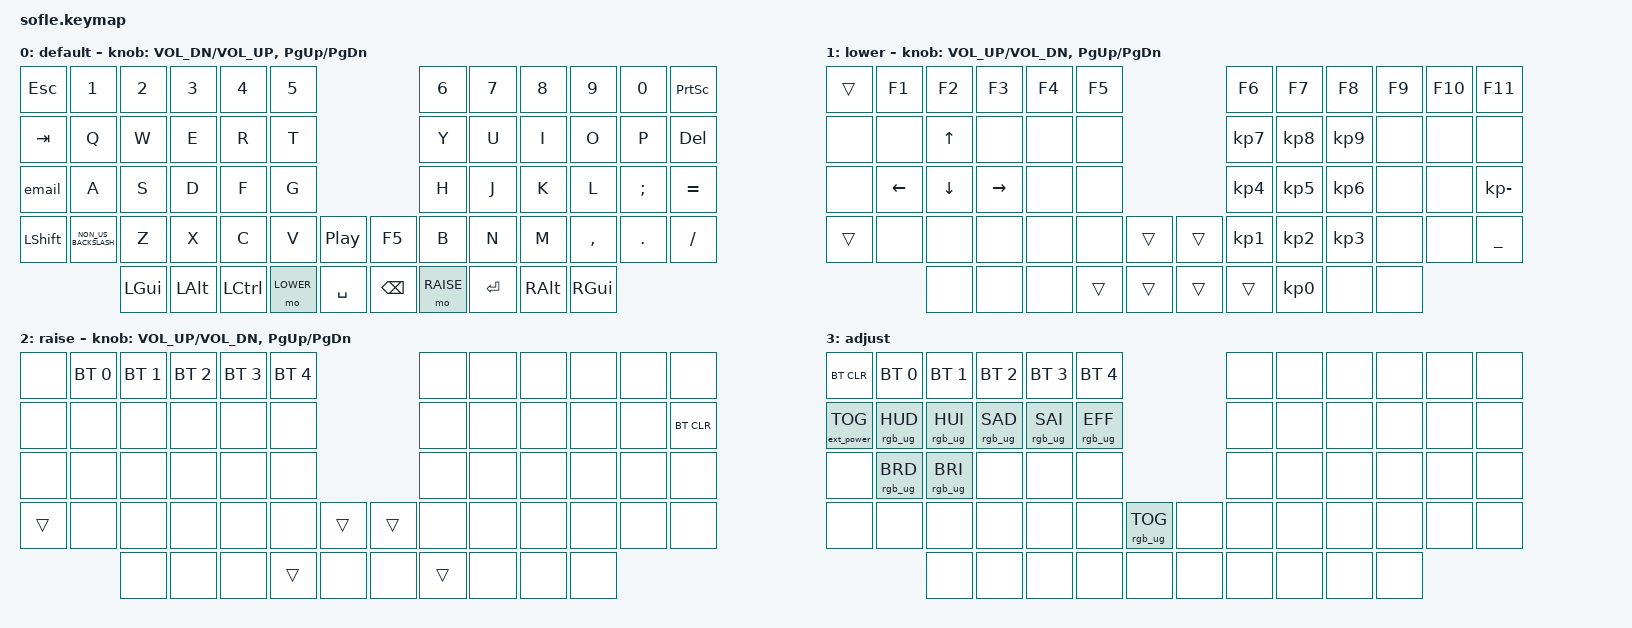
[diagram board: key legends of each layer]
/*
 * Copyright (c) 2020 The ZMK Contributors
 *
 * SPDX-License-Identifier: MIT
 */

#include <behaviors.dtsi>
#include <dt-bindings/zmk/bt.h>
#include <dt-bindings/zmk/ext_power.h>
#include <dt-bindings/zmk/keys.h>
#include <dt-bindings/zmk/rgb.h>

#define BASE 0
#define LOWER 1
#define RAISE 2
#define ADJUST 3

/ {
    // Activate ADJUST layer by pressing raise and lower

    conditional_layers {
        compatible = "zmk,conditional-layers";

        adjust_layer {
            if-layers = <LOWER RAISE>;
            then-layer = <ADJUST>;
        };
    };

    macros {
        email: email {
            compatible = "zmk,behavior-macro";
            #binding-cells = <0>;
            bindings = <&none &kp D &kp A &kp V &kp I &kp D &kp DOT &kp J &kp O &kp Y &kp C &kp E &kp AT &kp A &kp I &kp R &kp I &kp T &kp DOT &kp C &kp O &kp DOT &kp U &kp K>;
            label = "EMAIL";
        };
    };

    keymap {
        compatible = "zmk,keymap";

        default_layer {
            display-name = "default";

            // ------------------------------------------------------------------------------------------------------------
            // |   `   |  1  |  2  |  3   |  4   |  5   |                   |  6   |  7    |  8    |  9   |   0   |       |
            // |  ESC  |  Q  |  W  |  E   |  R   |  T   |                   |  Y   |  U    |  I    |  O   |   P   | BKSPC |
            // |  TAB  |  A  |  S  |  D   |  F   |  G   |                   |  H   |  J    |  K    |  L   |   ;   |   '   |
            // | SHIFT |  Z  |  X  |  C   |  V   |  B   |  MUTE  |  |       |  N   |  M    |  ,    |  .   |   /   | SHIFT |
            //               | GUI | ALT  | CTRL | LOWER|  ENTER |  | SPACE | RAISE| CTRL  | ALT   | GUI  |

            bindings = <
&kp ESC    &kp N1                &kp N2    &kp N3    &kp N4     &kp N5                                        &kp N6     &kp N7     &kp N8    &kp N9     &kp N0      &kp PRINTSCREEN
&kp TAB    &kp Q                 &kp W     &kp E     &kp R      &kp T                                         &kp Y      &kp U      &kp I     &kp O      &kp P       &kp DELETE
&email     &kp A                 &kp S     &kp D     &kp F      &kp G                                         &kp H      &kp J      &kp K     &kp L      &kp SEMI    &kp EQUAL
&kp LSHFT  &kp NON_US_BACKSLASH  &kp Z     &kp X     &kp C      &kp V      &kp C_PLAY_PAUSE    &kp F5         &kp B      &kp N      &kp M     &kp COMMA  &kp PERIOD  &kp SLASH
                                 &kp LGUI  &kp LALT  &kp LCTRL  &mo LOWER  &kp SPACE           &kp BACKSPACE  &mo RAISE  &kp ENTER  &kp RALT  &kp RGUI
            >;

            sensor-bindings =
                <&inc_dec_kp C_VOL_DN C_VOL_UP>,
                <&inc_dec_kp PG_UP PG_DN>;
        };

        lower_layer {
            display-name = "lower";

            // TODO: Some binds are waiting for shifted keycode support.
            // ------------------------------------------------------------------------------------------------------------
            // |       |  F1 |  F2 |  F3  |  F4  |  F5  |                   |  F6  |  F7   |  F8   |  F9  |  F10  |  F11  |
            // |   `   |  1  |  2  |  3   |  4   |  5   |                   |  6   |  7    |  8    |  9   |   0   |  F12  |
            // |       |  !  |  @  |  #   |  $   |  %   |                   |  ^   |  &    |  *    |  (   |   )   |   |   |
            // |       |  =  |  -  |  +   |  {   |  }   |        |  |       |  [   |  ]    |  ;    |  :   |   \   |       |
            //               |     |      |      |      |        |  |       |      |       |       |      |

            bindings = <
&trans  &kp F1          &kp F2        &kp F3     &kp F4  &kp F5                    &kp F6           &kp F7           &kp F8           &kp F9  &kp F10  &kp F11
&none   &none           &kp UP_ARROW  &none      &none   &none                     &kp KP_NUMBER_7  &kp KP_NUMBER_8  &kp KP_NUMBER_9  &none   &none    &none
&none   &kp LEFT_ARROW  &kp DOWN      &kp RIGHT  &none   &none                     &kp KP_NUMBER_4  &kp KP_NUMBER_5  &kp KP_NUMBER_6  &none   &none    &kp KP_MINUS
&trans  &none           &none         &none      &none   &none   &trans    &trans  &kp KP_NUMBER_1  &kp KP_NUMBER_2  &kp KP_NUMBER_3  &none   &none    &kp UNDER
                        &none         &none      &none   &trans  &trans    &trans  &trans           &kp KP_N0        &none            &none
            >;

            sensor-bindings = <&inc_dec_kp C_VOL_UP C_VOL_DN &inc_dec_kp PG_UP PG_DN>;
        };

        raise_layer {
            display-name = "raise";

            // ------------------------------------------------------------------------------------------------------------
            // | BTCLR | BT1  | BT2  |  BT3  |  BT4  |  BT5 |                |      |      |       |      |       |       |
            // |       | INS  | PSCR | GUI   |       |      |                | PGUP |      |   ^   |      |       |       |
            // |       | ALT  | CTRL | SHIFT |       | CAPS |                | PGDN |   <- |   v   |  ->  |  DEL  | BKSPC |
            // |       | UNDO | CUT  | COPY  | PASTE |      |      |  |      |      |      |       |      |       |       |
            //                |      |       |       |      |      |  |      |      |      |       |      |

            bindings = <
&none   &bt BT_SEL 0  &bt BT_SEL 1  &bt BT_SEL 2  &bt BT_SEL 3  &bt BT_SEL 4                    &none   &none  &none  &none  &none  &none
&none   &none         &none         &none         &none         &none                           &none   &none  &none  &none  &none  &bt BT_CLR
&none   &none         &none         &none         &none         &none                           &none   &none  &none  &none  &none  &none
&trans  &none         &none         &none         &none         &none         &trans    &trans  &none   &none  &none  &none  &none  &none
                      &none         &none         &none         &trans        &none     &none   &trans  &none  &none  &none
            >;

            sensor-bindings = <&inc_dec_kp C_VOL_UP C_VOL_DN &inc_dec_kp PG_UP PG_DN>;
        };

        adjust_layer {
            // ----------------------------------------------------------------------------------------------------------------------------
            // | BTCLR  |  BT1    |  BT2    |   BT3   |   BT4   |   BT5   |                  |      |      |       |      |       |       |
            // | EXTPWR | RGB_HUD | RGB_HUI | RGB_SAD | RGB_SAI | RGB_EFF |                  |      |      |       |      |       |       |
            // |        | RGB_BRD | RGB_BRI |         |         |         |                  |      |      |       |      |       |       |
            // |        |         |         |         |         |         | RGB_TOG | |      |      |      |       |      |       |       |
            //                    |         |         |         |         |         | |      |      |      |       |      |

            display-name = "adjust";
            bindings = <
&bt BT_CLR         &bt BT_SEL 0     &bt BT_SEL 1     &bt BT_SEL 2     &bt BT_SEL 3     &bt BT_SEL 4                               &none  &none  &none  &none  &none  &none
&ext_power EP_TOG  &rgb_ug RGB_HUD  &rgb_ug RGB_HUI  &rgb_ug RGB_SAD  &rgb_ug RGB_SAI  &rgb_ug RGB_EFF                            &none  &none  &none  &none  &none  &none
&none              &rgb_ug RGB_BRD  &rgb_ug RGB_BRI  &none            &none            &none                                      &none  &none  &none  &none  &none  &none
&none              &none            &none            &none            &none            &none            &rgb_ug RGB_TOG    &none  &none  &none  &none  &none  &none  &none
                                    &none            &none            &none            &none            &none              &none  &none  &none  &none  &none
            >;
        };
    };
};
